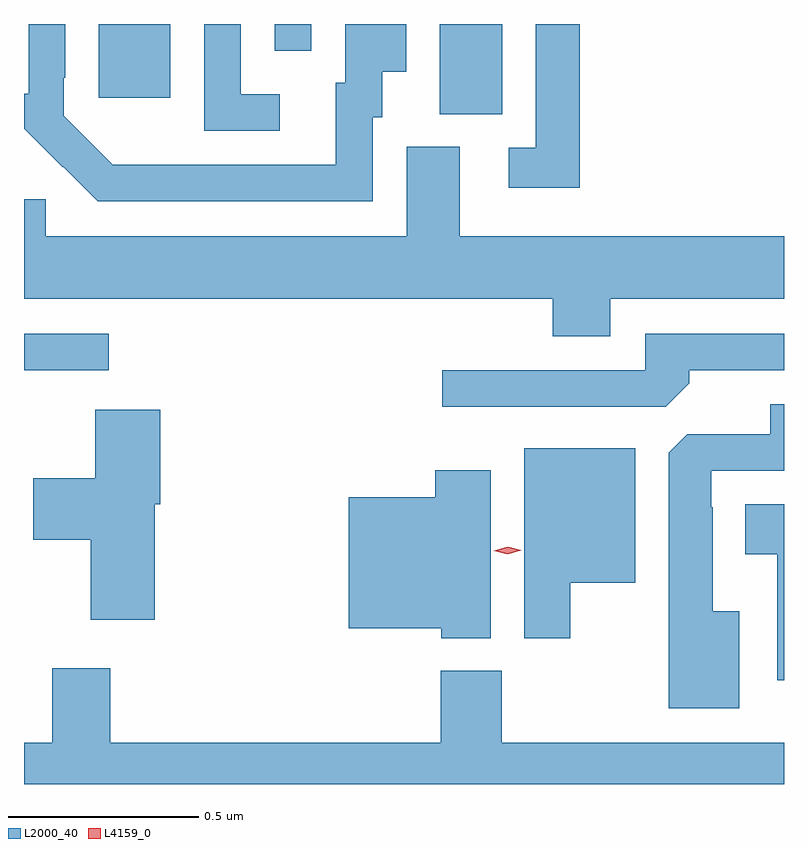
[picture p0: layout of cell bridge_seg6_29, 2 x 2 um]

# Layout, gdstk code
import gdstk
lib = gdstk.Library(unit=1e-6, precision=1e-09)
def R(c, l, rs):  # rectangles x0, y0, x1, y1
    for r in rs: c.add(gdstk.rectangle(r[:2], r[2:], *l))
def P(c, l, *ps):  # polygons
    for p in ps: c.add(gdstk.Polygon(p, *l))
L2000_40 = (2000, 40)
L4159_0 = (4159, 0)

bridge_seg6_29 = lib.new_cell('bridge_seg6_29')
R(bridge_seg6_29, L2000_40, [(1072.692,989.772,1072.915,989.868), (1073.786,990.445,1073.95,990.683), (1072.889,990.489,1073.077,990.683), (1073.352,990.612,1073.448,990.683)])
P(bridge_seg6_29, L2000_40, [(1073.365,990.498),(1073.262,990.498),(1073.262,990.683),(1073.166,990.683),(1073.166,990.402),(1073.365,990.402)],
  [(1074.155,990.683),(1074.039,990.683),(1074.039,990.357),(1073.967,990.357),(1073.967,990.252),(1074.155,990.252)],
  [(1073.61,990.438),(1073.635,990.438),(1073.635,990.557),(1073.698,990.557),(1073.698,990.683),(1073.537,990.683),(1073.537,990.528),(1073.513,990.528),(1073.513,990.312),(1073.029,990.312),(1073.029,990.313),(1072.926,990.313),(1072.797,990.441),(1072.797,990.541),(1072.8,990.541),(1072.8,990.683),(1072.704,990.683),(1072.704,990.499),(1072.692,990.499),(1072.692,990.408),(1072.794,990.306),(1072.795,990.307),(1072.886,990.216),(1073.61,990.216)],
  [(1074.235,989.96),(1074.692,989.96),(1074.692,990.124),(1073.839,990.124),(1073.839,990.36),(1073.699,990.36),(1073.699,990.124),(1072.749,990.124),(1072.749,990.222),(1072.692,990.222),(1072.692,989.96),(1074.083,989.96),(1074.083,989.861),(1074.235,989.861)],
  [(1074.443,989.738),(1074.443,989.772),(1074.692,989.772),(1074.692,989.868),(1074.327,989.868),(1074.327,989.772),(1073.793,989.772),(1073.793,989.676),(1074.381,989.676)],
  [(1074.574,989.137),(1074.505,989.137),(1074.505,989.411),(1074.501,989.411),(1074.501,989.508),(1074.692,989.508),(1074.692,989.683),(1074.656,989.683),(1074.656,989.604),(1074.438,989.604),(1074.389,989.555),(1074.389,988.883),(1074.574,988.883)],
  [(1073.036,989.419),(1073.051,989.419),(1073.051,989.668),(1072.88,989.668),(1072.88,989.488),(1072.716,989.488),(1072.716,989.326),(1072.868,989.326),(1072.868,989.115),(1073.036,989.115)],
  [(1074.13,989.213),(1074.301,989.213),(1074.301,989.566),(1074.008,989.566),(1074.008,989.067),(1074.13,989.067)],
  [(1073.92,989.509),(1073.774,989.509),(1073.774,989.437),(1073.546,989.437),(1073.546,989.093),(1073.79,989.093),(1073.79,989.066),(1073.92,989.066)],
  [(1074.692,989.419),(1074.59,989.419),(1074.59,989.288),(1074.674,989.288),(1074.674,988.956),(1074.692,988.956)],
  [(1074.692,988.792),(1073.949,988.792),(1073.949,988.981),(1073.789,988.981),(1073.789,988.792),(1072.919,988.792),(1072.919,988.987),(1072.766,988.987),(1072.766,988.792),(1072.692,988.792),(1072.692,988.683),(1074.692,988.683)])
P(bridge_seg6_29, L4159_0, [(1073.965,989.287),(1073.928,989.297),(1073.928,989.297),(1073.928,989.297),(1073.965,989.307),(1074.001,989.298),(1074.001,989.298),(1074.001,989.298)])

lib.write_gds('bridge_seg6_29.gds')
